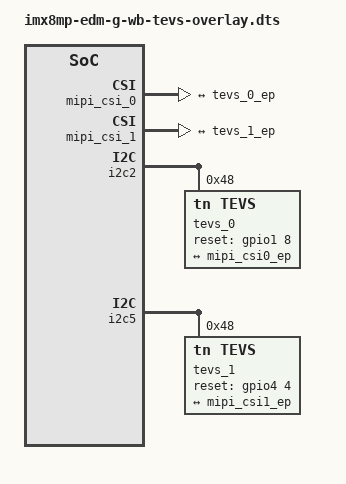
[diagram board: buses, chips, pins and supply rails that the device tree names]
// SPDX-License-Identifier: (GPL-2.0+ OR MIT)
/*
 * Copyright 2023 TechNexion Ltd.
 *
 */

/dts-v1/;
/plugin/;

#include <dt-bindings/interrupt-controller/irq.h>
#include <dt-bindings/clock/imx8mp-clock.h>
#include <dt-bindings/gpio/gpio.h>

/ {
	fragment@0 {
		target = <&mipi_csi_0>;
		__overlay__ {
			#address-cells = <1>;
			#size-cells = <0>;
			status = "okay";

			port@0 {
				reg = <0>;
				mipi_csi0_ep: endpoint {
					remote-endpoint = <&tevs_0_ep>;
					data-lanes = <4>;
					csis-hs-settle = <19>;
					csis-clk-settle = <2>;
					csis-wclk;
				};
			};
		};
	};

	fragment@1 {
		target = <&mipi_csi_1>;
		__overlay__ {
			#address-cells = <1>;
			#size-cells = <0>;
			status = "okay";

			port@1 {
				reg = <1>;
				mipi_csi1_ep: endpoint {
					remote-endpoint = <&tevs_1_ep>;
					data-lanes = <4>;
					csis-hs-settle = <19>;
					csis-clk-settle = <2>;
					csis-wclk;
				};
			};
		};
	};

	fragment@2 {
		target = <&i2c2>;
		__overlay__ {
			#address-cells = <1>;
			#size-cells = <0>;

			tevs_0: tevs@48 {
				compatible = "tn,tevs";
				reg = <0x48>;

				pinctrl-names = "default";
				pinctrl-0 = <&pinctrl_csi0_pwn>, <&pinctrl_csi0_rst>;
				reset-gpios = <&gpio1 8 GPIO_ACTIVE_HIGH>;
				data-lanes = <4>;
				continuous-clock = <0>;
				status = "okay";

				port {
					tevs_0_ep: endpoint {
						remote-endpoint = <&mipi_csi0_ep>;
					};
				};
			};
		};
	};

	fragment@3 {
		target = <&i2c5>;
		__overlay__ {
			#address-cells = <1>;
			#size-cells = <0>;

			tevs_1: tevs@48 {
				compatible = "tn,tevs";
				reg = <0x48>;

				pinctrl-names = "default";
				pinctrl-0 = <&pinctrl_csi1_pwn>, <&pinctrl_csi1_rst>;
				reset-gpios = <&gpio4 4 GPIO_ACTIVE_HIGH>;
				data-lanes = <4>;
				continuous-clock = <0>;
				status = "okay";

				port {
					tevs_1_ep: endpoint {
						remote-endpoint = <&mipi_csi1_ep>;
					};
				};
			};
		};
	};
};
